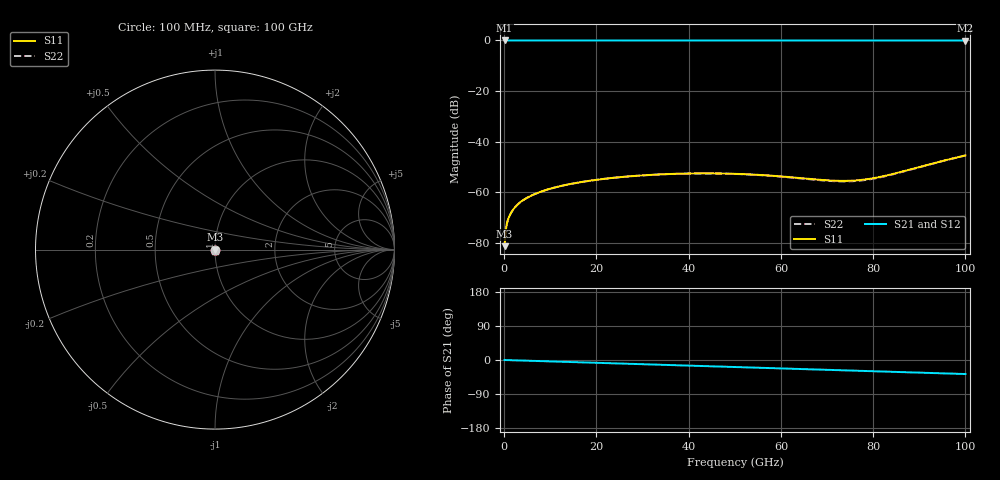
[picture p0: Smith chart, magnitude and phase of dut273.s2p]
! Touchstone file exported from HFSS 2026.1.0
!  File:  C:/ffzhzh/LocalFiles/Ansys_Project_Files/temp_train_TSV_273_1783508707_44152.aedt
!  Generated:  07:06:20 PM Jul  8, 2026
!  Design:  TSV
!  Project:  temp_train_TSV_273_1783508707_44152
! Variables:
!  h_bsmrdl = 2um
!  h_ox = 20um
!  h_rdl = 5um
!  h_sub = 70.78um
!  h_tmrdl = 5um
!  h_tsv = 70.78um
!  h_via = 3um
!  l_bsmrdl = 300um
!  l_sub = 426.92um
!  l_tmrdl = 200um
!  m_sub = 200um
!  pitch = 54.13um
!  r_tsv = 13.46um
!  s_tmrdl = 10um
!  w_bsmrdl = 18um
!  w_sub = 500um
!  w_tmrdl = 12um
!  x_tsv_center1 = 206um
!  x_tsv_center2 = 524um
!  x_tsv_center3 = 736um
!  x_tsv_center4 = 1054um
!  x_tsv_center5 = 1266um
!  x_tsv_center6 = 1584um
# GHz S MA R 50.000000
! Terminal data exported
! Port[1] = TSV1_1_T1
! Port[2] = TSV1_1_T2
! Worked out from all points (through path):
!   1000 points, 100 MHz to 100 GHz, reference 50 ohm
!   highest |S21| = 0.00 dB at 100 MHz (marker M1); lowest = 0.0 dB at 100 GHz (marker M2)
!   group delay of S21, straight-line fit = 1.03 ps
!   lowest |S11| = -81.2 dB at 100 MHz (marker M3), VSWR 1.00, Z = 50 + j0.0044 ohm
!   |S11| at or under -10 dB: start of sweep to end of sweep
!   |S22| runs from -81.2 to -45.4 dB; largest |S21 - S12| = 5.3e-15
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0.1  8.705e-05 30.4  0.9999 -0.0  0.9999 -0.0  8.705e-05 30.4
! Gamma 0 0 0 0
! Port Impedance 50 0 50 0
0.8  0.0002838 48.6  0.9998 -0.3  0.9998 -0.3  0.0002838 48.6
1  0.0003188 48.8  0.9998 -0.4  0.9998 -0.4  0.0003188 48.8
1.3  0.0003659 49.3  0.9998 -0.5  0.9998 -0.5  0.0003659 49.3
1.8  0.0004378 50.2  0.9997 -0.7  0.9997 -0.7  0.0004378 50.2
2.4  0.0005163 50.9  0.9997 -0.9  0.9997 -0.9  0.0005163 50.9
3.8  0.000673 51.5  0.9996 -1.4  0.9996 -1.4  0.0006729 51.5
6  0.0008757 52.1  0.9995 -2.2  0.9995 -2.2  0.0008755 52.1
8.9  0.001107 52.4  0.9994 -3.3  0.9994 -3.3  0.001106 52.4
12.5  0.001353 52.0  0.9993 -4.6  0.9993 -4.6  0.001353 52.0
16.8  0.001609 51.3  0.9991 -6.2  0.9991 -6.2  0.001608 51.4
24.5  0.001979 49.2  0.9989 -9.0  0.9989 -9.0  0.001977 49.3
33.4  0.002263 45.3  0.9988 -12.3  0.9988 -12.3  0.002259 45.5
41.8  0.002378 40.0  0.9986 -15.4  0.9986 -15.4  0.00237 40.3
50.1  0.002331 32.6  0.9985 -18.5  0.9985 -18.5  0.002319 33.0
57.7  0.00215 22.5  0.9983 -21.3  0.9983 -21.3  0.002132 22.9
66.7  0.001833 1.9  0.9982 -24.6  0.9982 -24.6  0.001803 2.4
71.8  0.001703 -16.8  0.9981 -26.5  0.9981 -26.5  0.001665 -16.5
75.6  0.001711 -34.1  0.998 -27.9  0.998 -27.9  0.001668 -34.3
79.2  0.001855 -51.4  0.998 -29.3  0.998 -29.3  0.001811 -51.9
83.4  0.002216 -69.5  0.9979 -30.8  0.9979 -30.8  0.002175 -70.3
100  0.005382 -108.8  0.9975 -37.0  0.9975 -37.0  0.005359 -109.5
